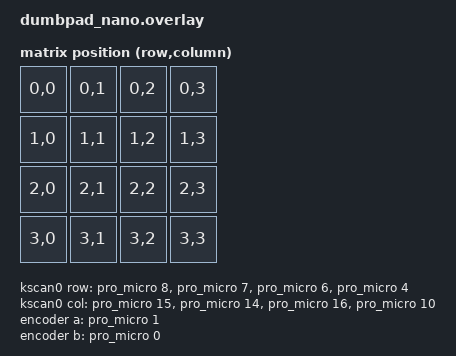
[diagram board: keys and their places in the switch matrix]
#include <dt-bindings/zmk/matrix_transform.h>
#include <dt-bindings/led/led.h>

/ {
    chosen {
        zmk,kscan = &kscan0;
        zmk,matrix-transform = &default_transform;
        zmk,underglow = &led_strip;
    };

    kscan0: kscan {
        compatible = "zmk,kscan-gpio-matrix";
        wakeup-source;
        diode-direction = "col2row";

        row-gpios
            = <&pro_micro 8 (GPIO_ACTIVE_HIGH | GPIO_PULL_DOWN)>
            , <&pro_micro 7 (GPIO_ACTIVE_HIGH | GPIO_PULL_DOWN)>
            , <&pro_micro 6 (GPIO_ACTIVE_HIGH | GPIO_PULL_DOWN)>
            , <&pro_micro 4 (GPIO_ACTIVE_HIGH | GPIO_PULL_DOWN)>
            ;

        col-gpios
            = <&pro_micro 15 GPIO_ACTIVE_HIGH>
            , <&pro_micro 14 GPIO_ACTIVE_HIGH>
            , <&pro_micro 16 GPIO_ACTIVE_HIGH>
            , <&pro_micro 10 GPIO_ACTIVE_HIGH>
            ;
    };

    default_transform: keymap_transform_0 {
        compatible = "zmk,matrix-transform";
        rows = <4>;
        columns = <4>;
        map = <
            RC(0,0) RC(0,1) RC(0,2) RC(0,3)
            RC(1,0) RC(1,1) RC(1,2) RC(1,3)
            RC(2,0) RC(2,1) RC(2,2) RC(2,3)
            RC(3,0) RC(3,1) RC(3,2) RC(3,3)
        >;
    };

    encoder: encoder {
        compatible = "alps,ec11";
        a-gpios = <&pro_micro 1 (GPIO_ACTIVE_LOW | GPIO_PULL_UP)>;
        b-gpios = <&pro_micro 0 (GPIO_ACTIVE_LOW | GPIO_PULL_UP)>;
        steps = <24>;
        status = "okay";
    };

    sensors: sensors {
        compatible = "zmk,keymap-sensors";
        sensors = <&encoder>;
        triggers-per-rotation = <4>;
    };
};

&pinctrl {
    spi3_default: spi3_default {
        group1 {
            psels = <NRF_PSEL(SPIM_MOSI, 1, 6)>;
        };
    };

    spi3_sleep: spi3_sleep {
        group1 {
            psels = <NRF_PSEL(SPIM_MOSI, 1, 6)>;
            low-power-enable;
        };
    };
};

&spi3 {
    compatible = "nordic,nrf-spim";
    status = "okay";

    pinctrl-0 = <&spi3_default>;
    pinctrl-1 = <&spi3_sleep>;
    pinctrl-names = "default", "sleep";

    led_strip: ws2812@0 {
        compatible = "worldsemi,ws2812-spi";

        /* SPI */
        reg = <0>; /* ignored, but necessary for SPI bindings */
        spi-max-frequency = <4000000>;

        /* WS2812 */
        chain-length = <8>; /* 8 RGB underglow LEDs */
        spi-one-frame = <0x70>;
        spi-zero-frame = <0x40>;

        color-mapping = <LED_COLOR_ID_GREEN LED_COLOR_ID_RED LED_COLOR_ID_BLUE>;
    };
};

&pro_micro_i2c {
    status = "okay";
};

&pro_micro_serial {
    status = "okay";
};
